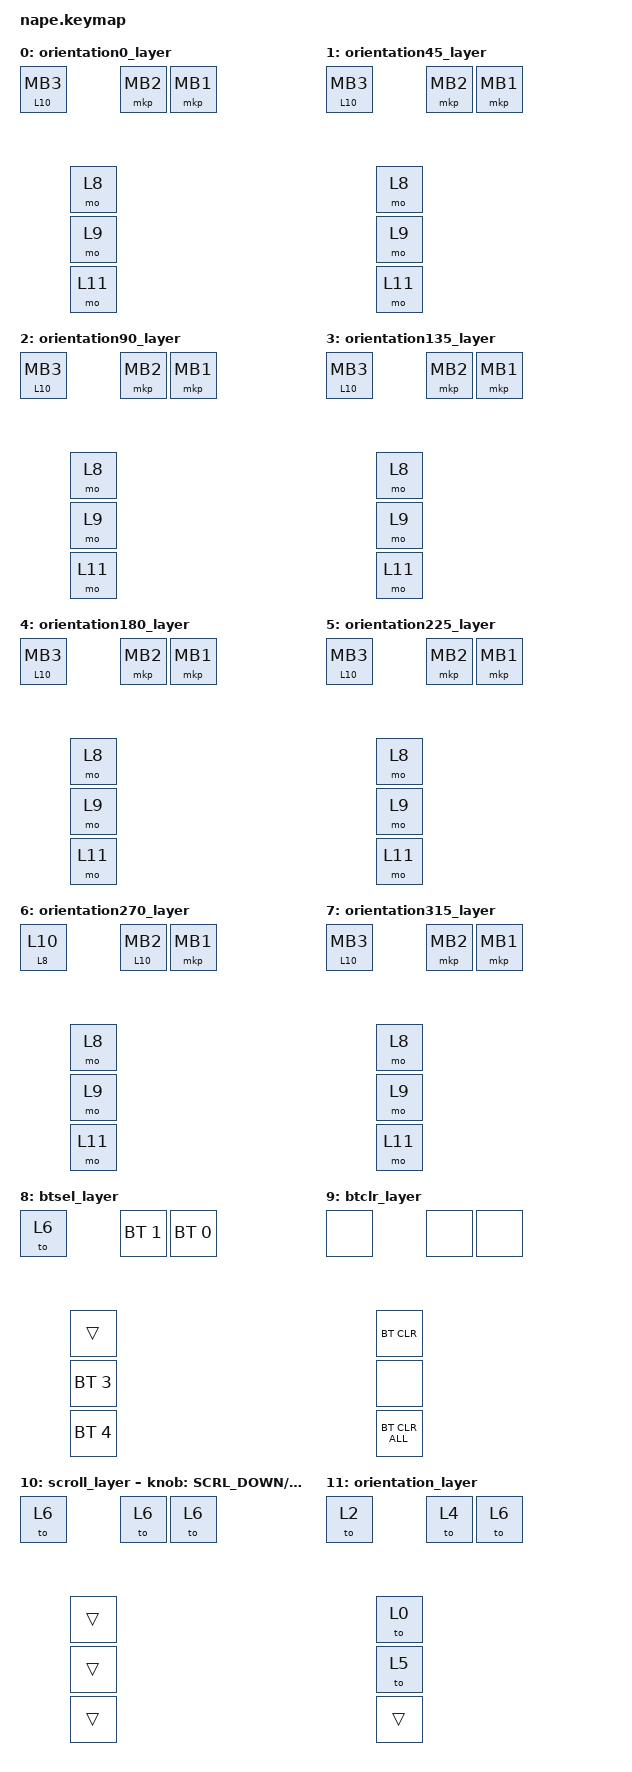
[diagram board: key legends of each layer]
#include <dt-bindings/zmk/mouse.h>

// マウス移動とスクロールのデフォルト値を設定

#undef ZMK_POINTING_DEFAULT_MOVE_VAL  // 追加
#define ZMK_POINTING_DEFAULT_MOVE_VAL 800

#undef ZMK_POINTING_DEFAULT_SCRL_VAL  // 追加
#define ZMK_POINTING_DEFAULT_SCRL_VAL 120

#include <input/processors.dtsi>
#include <zephyr/dt-bindings/input/input-event-codes.h>
#include <behaviors.dtsi>
#include <dt-bindings/zmk/bt.h>
#include <dt-bindings/zmk/keys.h>
#include <dt-bindings/zmk/pointing.h>

// マウス移動の設定

&mmv {
    delay-ms = <0>;              // 遅延なし
    trigger-period-ms = <10>;    // 10ミリ秒ごとにトリガー
    time-to-max-speed-ms = <0>;  // 即座に最大速度に
    acceleration-exponent = <0>;  // 線形加速
};

// マウススクロールの設定

&msc {
    delay-ms = <0>;              // 遅延なし
    trigger-period-ms = <10>;    // 10ミリ秒ごとにトリガー
    time-to-max-speed-ms = <0>;  // 即座に最大速度に
    acceleration-exponent = <0>;  // 加速なし
};

// 入力プロセッサーの設定

/ {
    input_processors {
        // 垂直スクロールのスケーラー

        zip_wheel_scaler: zip_wheel_scaler {
            compatible = "zmk,input-processor-scaler";
            #input-processor-cells = <2>;
            type = <INPUT_EV_REL>;
            codes = <INPUT_REL_WHEEL>;
            track-remainders;
        };

        // 水平スクロールのスケーラー

        zip_hwheel_scaler: zip_hwheel_scaler {
            compatible = "zmk,input-processor-scaler";
            #input-processor-cells = <2>;
            type = <INPUT_EV_REL>;
            codes = <INPUT_REL_HWHEEL>;
            track-remainders;
        };
    };
};

// カスタムビヘイビアの定義

/ {
    behaviors {
        // マウスカーソル移動の回転検出

        mouse_mv: mouse_cursor_move {
            compatible = "zmk,behavior-sensor-rotate-var";
            #sensor-binding-cells = <2>;
            bindings = <&mmv>, <&mmv>;

            tap-ms = <10>;
        };

        // マウスホイールスクロールの回転検出

        mouse_scrl: mouse_wheel_scrl {
            compatible = "zmk,behavior-sensor-rotate-var";
            #sensor-binding-cells = <2>;
            bindings = <&msc>, <&msc>;

            tap-ms = <10>;
        };

        lt_mkp: lt_mkp {
            compatible = "zmk,behavior-hold-tap";
            label = "LT_MKP";
            bindings = <&mo>, <&mkp>;

            #binding-cells = <2>;
            tapping-term-ms = <200>;
        };

        mod_mkp: mod_mkp {
            compatible = "zmk,behavior-hold-tap";
            label = "MOD_MKP";
            bindings = <&kp>, <&mkp>;

            #binding-cells = <2>;
            tapping-term-ms = <200>;
        };

        r: r {
            compatible = "zmk,behavior-hold-tap";
            label = "R";
            bindings = <&mo>, <&scroll_rightclick>;

            #binding-cells = <2>;
            tapping-term-ms = <200>;
            flavor = "balanced";
        };

        scroll_rightclick: scroll_rightclick {
            compatible = "zmk,behavior-tap-dance";
            label = "SCROLL_RIGHTCLICK";
            #binding-cells = <0>;
            bindings = <&mkp MB2>, <&to 10>;
        };

        a: a {
            compatible = "zmk,behavior-hold-tap";
            label = "A";
            bindings = <&mo>, <&to>;

            #binding-cells = <2>;
            tapping-term-ms = <200>;
        };
    };

    // キーマップの定義

    keymap {
        compatible = "zmk,keymap";

        // レイヤー0（0°、USBポートを下向きにした状態）"

        orientation0_layer {
            bindings = <
&lt_mkp 10 MB3  &mkp MB2  &mkp MB1  &mo 8  &mo 9  &mo 11
            >;
        };

        // レイヤー1（時計回り45°）

        orientation45_layer {
            bindings = <
&lt_mkp 10 MB3  &mkp MB2  &mkp MB1  &mo 8  &mo 9  &mo 11
            >;
        };

        // レイヤー2（時計回り90°）

        orientation90_layer {
            bindings = <
&lt_mkp 10 MB3  &mkp MB2  &mkp MB1  &mo 8  &mo 9  &mo 11
            >;
        };

        // レイヤー3（時計回り135°）

        orientation135_layer {
            bindings = <
&lt_mkp 10 MB3  &mkp MB2  &mkp MB1  &mo 8  &mo 9  &mo 11
            >;
        };

        // レイヤー4（時計回り180°）

        orientation180_layer {
            bindings = <
&lt_mkp 10 MB3  &mkp MB2  &mkp MB1  &mo 8  &mo 9  &mo 11
            >;
        };

        // レイヤー5（時計回り225°）

        orientation225_layer {
            bindings = <
&lt_mkp 10 MB3  &mkp MB2  &mkp MB1  &mo 8  &mo 9  &mo 11
            >;
        };

        // レイヤー6（時計回り270°）

        orientation270_layer {
            bindings = <
&a 8 10  &lt_mkp 10 MB2  &mkp MB1  &mo 8  &mo 9  &mo 11
            >;
        };

        // レイヤー7（時計回り315°）

        orientation315_layer {
            bindings = <
&lt_mkp 10 MB3  &mkp MB2  &mkp MB1  &mo 8  &mo 9  &mo 11
            >;
        };

        // レイヤー8（Bluetooth選択レイヤー）

        btsel_layer {
            bindings = <
&to 6  &bt BT_SEL 1  &bt BT_SEL 0  &trans  &bt BT_SEL 3  &bt BT_SEL 4
            >;
        };

        // レイヤー9（Bluetoothクリアレイヤー）

        btclr_layer {
            bindings = <
&none  &none  &none  &bt BT_CLR  &none  &bt BT_CLR_ALL
            >;
        };

        // レイヤー10（スクロールレイヤー）

        scroll_layer {
            bindings = <
&to 6  &to 6  &to 6  &trans  &trans  &trans
            >;

            // トラックボールの動きをスクロールに変換

            sensor-bindings =
                <&mouse_scrl SCRL_DOWN SCRL_UP>,
                <&mouse_scrl SCRL_DOWN SCRL_UP>;
        };

        // レイヤー11（使用向き選択レイヤー）

        orientation_layer {
            bindings = <
&to 2  &to 4  &to 6  &to 0  &to 5  &trans
            >;
        };
    };
};

/ {
    combos {
        compatible = "zmk,combos";

        // Key1、2同時押しでスクロールレイヤーへ

        combo_layer9 {
            bindings = <&mo 10>;
            key-positions = <1 2>;
            timeout-ms = <50>;
        };
    };
};
